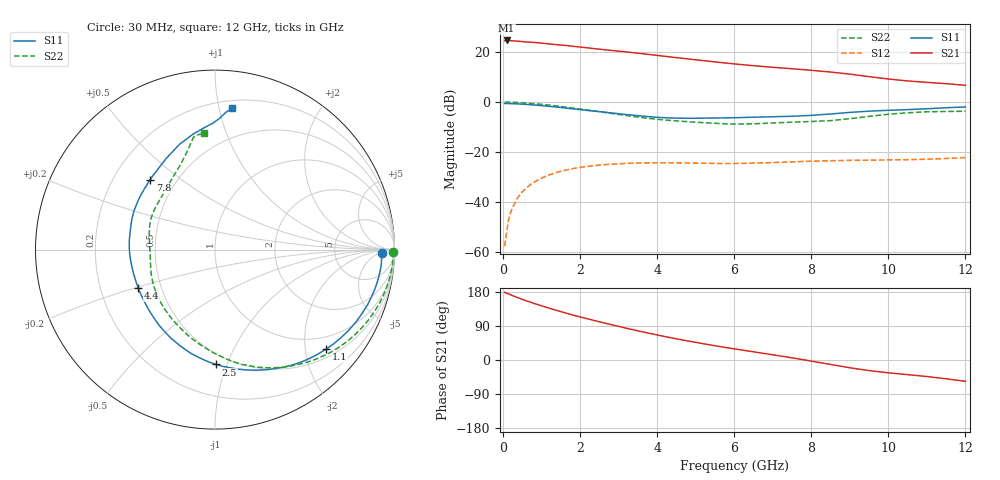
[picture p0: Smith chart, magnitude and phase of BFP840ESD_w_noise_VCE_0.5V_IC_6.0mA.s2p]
! Infineon Technologies  Discrete & RF Semiconductors
! BFP840ESD
! VCE =  0.5 V,  IC =  6.0 mA
! Common Emitter S-Parameters:  May 2012
# GHz  S  MA  R  50
!  f  S11  S21  S12  S22
! GHz  MAG  ANG  MAG  ANG  MAG  ANG  MAG  ANG
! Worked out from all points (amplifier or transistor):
!   93 points, 30 MHz to 12 GHz, reference 50 ohm
!   highest |S21| = 24.6 dB at 80 MHz (marker M1)
!   |S21| within 3 dB of that: start of sweep to 2.204 GHz
!   unconditionally stable (mu >= 1): 5.926 GHz to 11.21 GHz
!   at 1.1 GHz: K = 0.20, MSG = 26.6 dB, |S12| = -29.7 dB
!   at 4.2 GHz: K = 0.66, MSG = 21.3 dB, |S12| = -24.3 dB
!   at 12 GHz: K = 0.87, MSG = 14.5 dB, |S12| = -22.2 dB
!   lowest NFmin = 0.65 dB at 450 MHz
!   S11 on the Smith chart (normalised r, x): 30 MHz: 26, -8; 1.1 GHz: 0.68, -2.45; 2.5 GHz: 0.42, -0.92; 4.4 GHz: 0.37, -0.20; 7.8 GHz: 0.36, +0.39; 12 GHz: 0.26, +1.10
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0.03  0.9321 -1.2  16.85 178.6  0.0013 74.3  0.9904 -0.7
0.08  0.9299 -3.3  17.06 176.4  0.0024 76.1  0.9916 -2.7
0.18  0.9278 -7.2  16.87 172.3  0.0059 84.2  0.9897 -6.5
0.38  0.9143 -15.1  16.48 164.1  0.0124 78.4  0.976 -13.7
0.6  0.8935 -23.5  15.94 156.0  0.0191 72.5  0.9522 -21.5
0.8  0.8702 -31.1  15.58 149.2  0.0249 66.8  0.9262 -28.2
1.1  0.8312 -41.9  14.78 139.6  0.0326 59.3  0.8803 -38.1
1.6  0.7587 -59.6  13.61 124.4  0.043 47.6  0.793 -53.6
2.1  0.6888 -76.4  12.33 110.8  0.0505 37.6  0.7068 -68.3
2.5  0.64 -89.5  11.4 100.7  0.0546 30.8  0.6406 -79.4
2.9  0.5941 -102.9  10.6 90.9  0.0573 24.7  0.5765 -90.5
3.3  0.5504 -116.6  9.847 81.3  0.0594 19.6  0.5214 -102.1
3.7  0.5149 -130.0  9.093 72.4  0.0605 14.9  0.4767 -114.1
4.1  0.4886 -143.6  8.373 63.8  0.0608 10.7  0.4433 -126.3
4.4  0.4774 -153.5  7.874 57.7  0.0607 8.0  0.4238 -135.0
5.2  0.4755 -176.5  6.722 42.7  0.0595 2.9  0.3851 -155.8
6.1  0.4865 164.6  5.688 27.8  0.0589 1.0  0.3625 -177.3
7.8  0.5302 133.0  4.434 0.5  0.0646 -3.7  0.4019 148.9
8.5  0.576 118.2  3.977 -11.8  0.0667 -6.9  0.4241 132.7
9.5  0.6558 100.6  3.217 -28.0  0.0684 -11.8  0.5158 111.4
10.5  0.7045 90.9  2.638 -38.6  0.07 -14.9  0.6086 102.8
12  0.7952 83.0  2.159 -56.3  0.0774 -18.7  0.6526 95.2
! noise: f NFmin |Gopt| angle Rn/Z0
0.45  0.65  0.45  1  0.16
0.9  0.65  0.45  5  0.16
1.5  0.68  0.45  14  0.14
1.9  0.7  0.43  17  0.13
2.4  0.71  0.38  29  0.14
3.5  0.74  0.27  57  0.11
5.5  0.84  0.18  122  0.09
8  1.01  0.33  -142  0.08
10  1.17  0.49  -99  0.16
12  1.39  0.59  -77  0.26
